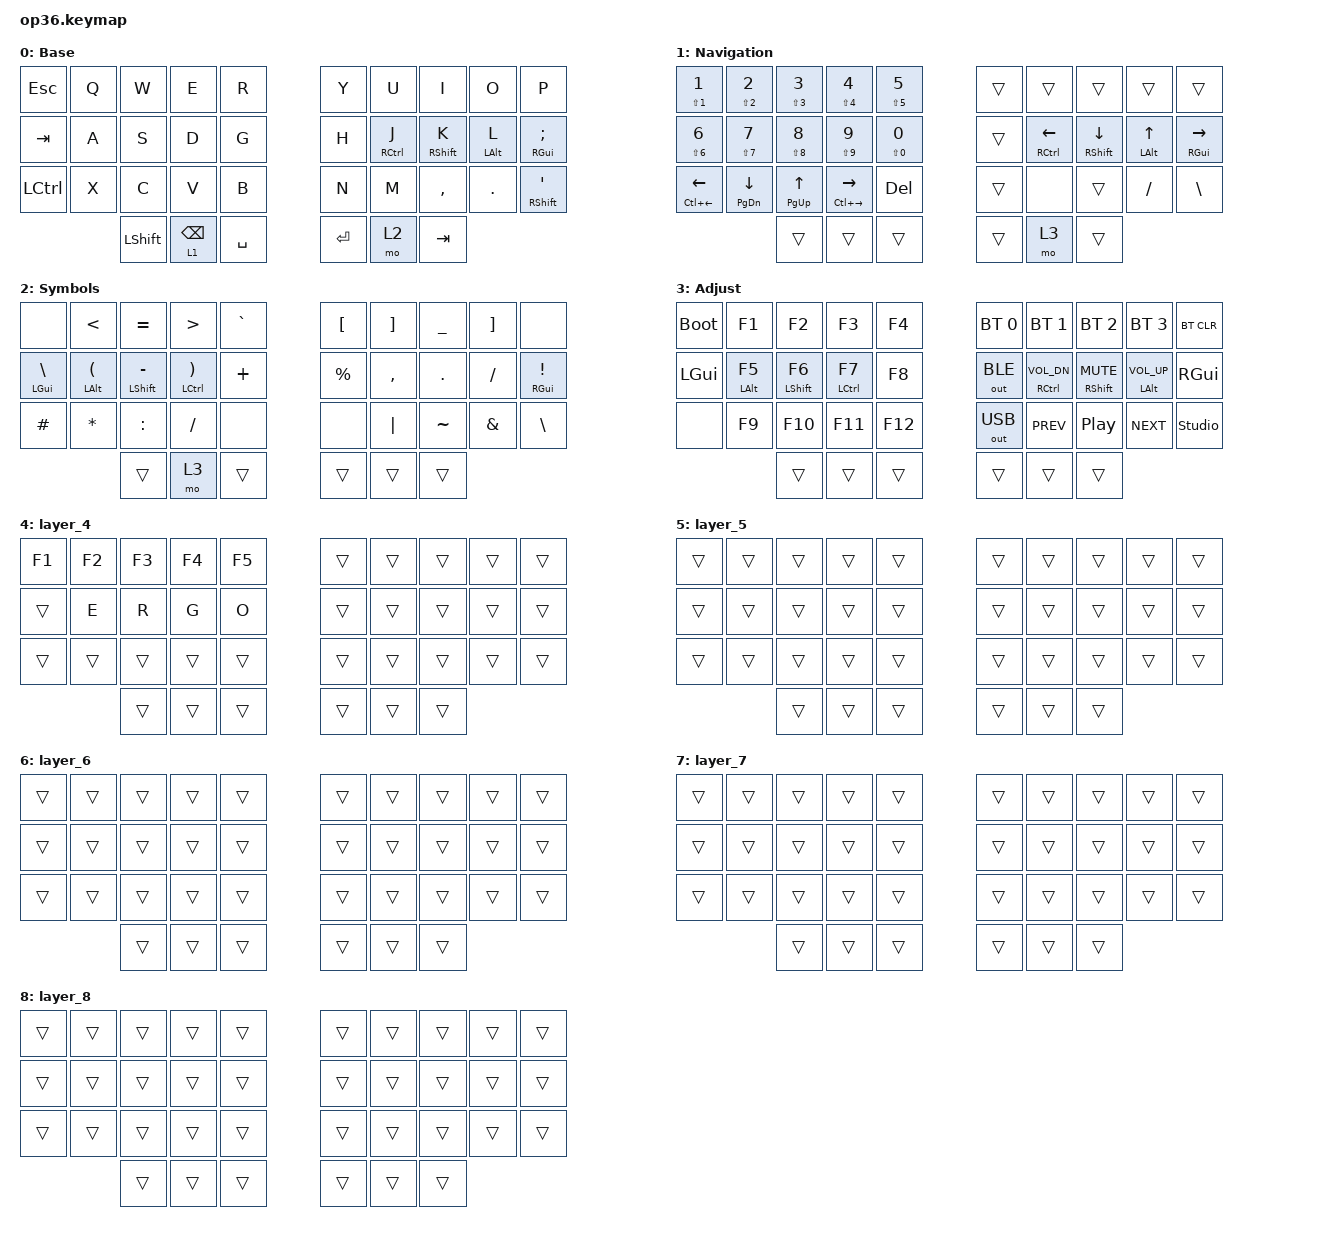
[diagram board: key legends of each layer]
#include "keys_ru.h"
#include <behaviors.dtsi>
#include <dt-bindings/zmk/bt.h>
#include <dt-bindings/zmk/keys.h>
#include <dt-bindings/zmk/outputs.h>

&mt {
    quick-tap-ms = <200>;
    flavor = "tap-preferred";
    require-prior-idle-ms = <125>;
};

/ {
    behaviors {
        hml: home_row_mod_left {
            compatible = "zmk,behavior-hold-tap";
            #binding-cells = <2>;
            flavor = "balanced";
            require-prior-idle-ms = <150>;
            tapping-term-ms = <280>;
            quick-tap-ms = <175>;
            bindings = <&kp>, <&kp>;

            hold-trigger-key-positions = <5 6 7 8 9 15 16 17 18 19 25 26 27 28 29 33 34 35>;
            hold-trigger-on-release;
        };

        hmr: home_row_mod_right {
            compatible = "zmk,behavior-hold-tap";
            #binding-cells = <2>;
            flavor = "balanced";
            require-prior-idle-ms = <150>;
            tapping-term-ms = <280>;
            quick-tap-ms = <175>;
            bindings = <&kp>, <&kp>;

            hold-trigger-key-positions = <0 1 2 3 4 10 11 12 13 14 20 21 22 23 24 30 31 32>;
            hold-trigger-on-release;
        };
    };

    combos {
        compatible = "zmk,combos";

        kha {
            bindings = <&kp LBKT>;
            key-positions = <6 7>;
        };

        hrdsgn {
            bindings = <&kp RBKT>;
            key-positions = <7 8>;
        };

        lang {
            bindings = <&kp LA(LEFT_SHIFT)>;
            key-positions = <1 2>;
        };

        esc {
            bindings = <&kp ESC>;
            key-positions = <0 1>;
        };

        pscrn {
            bindings = <&kp LA(T)>;
            key-positions = <3 4>;
        };

        dot {
            bindings = <&kp DOT>;
            key-positions = <17 18>;
        };

        comma {
            bindings = <&kp COMMA>;
            key-positions = <16 17>;
        };

        quest {
            bindings = <&kp LS(SLASH)>;
            key-positions = <18 16>;
        };

        equal {
            bindings = <&kp EQUAL>;
            key-positions = <22 23>;
        };

        minus {
            bindings = <&kp MINUS>;
            key-positions = <23 24>;
        };

        Comm {
            bindings = <&kp LS(SLASH)>;
            key-positions = <13 12>;
        };

        ruquest {
            bindings = <&kp LS(N7)>;
            key-positions = <11 13>;
        };

        rudot {
            bindings = <&kp SLASH>;
            key-positions = <12 11>;
        };
    };

    keymap {
        compatible = "zmk,keymap";

        base {
            bindings = <
  &kp ESC    &kp Q  &kp W  &kp E           &kp R                                    &kp Y  &kp U         &kp I         &kp O        &kp P
  &kp TAB    &kp A  &kp S  &kp D           &kp G                                    &kp H  &hmr RCTRL J  &hmr RSHFT K  &hmr LALT L  &hmr RGUI SEMICOLON
  &kp LCTRL  &kp X  &kp C  &kp V           &kp B                                    &kp N  &kp M         &kp COMMA     &kp DOT      &hmr RIGHT_SHIFT SQT
                           &kp LEFT_SHIFT  &lt 1 BACKSPACE  &kp SPACE    &kp ENTER  &mo 2  &kp TAB
            >;

            display-name = "Base";
        };

        nav {
            bindings = <
  &mt LS(N1) N1                  &mt LS(N2) N2             &mt LS(N3) N3         &mt LS(N4) N4                    &mt LS(N5) N5                    &trans  &trans           &trans           &trans        &trans
  &mt LS(N6) N6                  &mt LS(N7) N7             &mt LS(N8) N8         &mt LS(N9) N9                    &mt LS(N0) N0                    &trans  &hmr RCTRL LEFT  &hmr RSHFT DOWN  &hmr LALT UP  &hmr RGUI RIGHT
  &mt LC(LEFT_ARROW) LEFT_ARROW  &mt PAGE_DOWN DOWN_ARROW  &mt PAGE_UP UP_ARROW  &mt LC(RIGHT_ARROW) RIGHT_ARROW  &kp DELETE                       &trans  &none            &trans           &kp FSLH      &kp BSLH
                                                                                 &trans                           &trans         &trans    &trans  &mo 3   &trans
            >;

            display-name = "Navigation";
        };

        sym {
            bindings = <
  &none           &kp LT          &kp EQUAL         &kp GT           &kp GRAVE                    &kp LBKT   &kp RBKT   &kp UNDER  &kp RBKT  &none
  &hml LGUI BSLH  &hml LALT LPAR  &hml LSHFT MINUS  &hml LCTRL RPAR  &kp PLUS                     &kp PRCNT  &kp COMMA  &kp DOT    &kp FSLH  &hmr RGUI EXCL
  &kp HASH        &kp STAR        &kp COLON         &kp FSLH         &none                        &none      &kp PIPE   &kp TILDE  &kp AMPS  &kp BSLH
                                                    &trans           &mo 3      &trans    &trans  &trans     &trans
            >;

            display-name = "Symbols";
        };

        adj {
            bindings = <
  &bootloader  &kp F1        &kp F2         &kp F3         &kp F4                     &bt BT_SEL 0  &bt BT_SEL 1         &bt BT_SEL 2       &bt BT_SEL 3        &bt BT_CLR
  &kp LGUI     &hml LALT F5  &hml LSHFT F6  &hml LCTRL F7  &kp F8                     &out OUT_BLE  &hmr RCTRL C_VOL_DN  &hmr RSHFT C_MUTE  &hmr LALT C_VOL_UP  &kp RGUI
  &none        &kp F9        &kp F10        &kp F11        &kp F12                    &out OUT_USB  &kp C_PREV           &kp C_PP           &kp C_NEXT          &studio_unlock
                                            &trans         &trans   &trans    &trans  &trans        &trans
            >;

            display-name = "Adjust";
        };

        layer_4 {
            bindings = <
  &kp F1  &kp F2  &kp F3  &kp F4  &kp F5                    &trans  &trans  &trans  &trans  &trans
  &trans  &kp E   &kp R   &kp G   &kp O                     &trans  &trans  &trans  &trans  &trans
  &trans  &trans  &trans  &trans  &trans                    &trans  &trans  &trans  &trans  &trans
                          &trans  &trans  &trans    &trans  &trans  &trans
            >;
        };

        layer_5 {
            bindings = <
  &trans  &trans  &trans  &trans  &trans                    &trans  &trans  &trans  &trans  &trans
  &trans  &trans  &trans  &trans  &trans                    &trans  &trans  &trans  &trans  &trans
  &trans  &trans  &trans  &trans  &trans                    &trans  &trans  &trans  &trans  &trans
                          &trans  &trans  &trans    &trans  &trans  &trans
            >;
        };

        layer_6 {
            bindings = <
  &trans  &trans  &trans  &trans  &trans                    &trans  &trans  &trans  &trans  &trans
  &trans  &trans  &trans  &trans  &trans                    &trans  &trans  &trans  &trans  &trans
  &trans  &trans  &trans  &trans  &trans                    &trans  &trans  &trans  &trans  &trans
                          &trans  &trans  &trans    &trans  &trans  &trans
            >;
        };

        layer_7 {
            bindings = <
  &trans  &trans  &trans  &trans  &trans                    &trans  &trans  &trans  &trans  &trans
  &trans  &trans  &trans  &trans  &trans                    &trans  &trans  &trans  &trans  &trans
  &trans  &trans  &trans  &trans  &trans                    &trans  &trans  &trans  &trans  &trans
                          &trans  &trans  &trans    &trans  &trans  &trans
            >;
        };

        layer_8 {
            bindings = <
  &trans  &trans  &trans  &trans  &trans                    &trans  &trans  &trans  &trans  &trans
  &trans  &trans  &trans  &trans  &trans                    &trans  &trans  &trans  &trans  &trans
  &trans  &trans  &trans  &trans  &trans                    &trans  &trans  &trans  &trans  &trans
                          &trans  &trans  &trans    &trans  &trans  &trans
            >;
        };
    };
};
